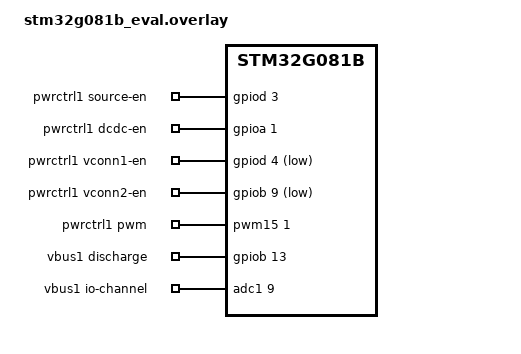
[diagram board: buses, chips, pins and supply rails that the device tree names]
/*
 * Copyright (c) 2022 The Chromium OS Authors.
 * Copyright (c) Qualcomm Technologies, Inc. and/or its subsidiaries.
 *
 * SPDX-License-Identifier: Apache-2.0
 *
 */

#include <dt-bindings/usb-c/pd.h>

/ {
	aliases {
		usbc-port0 = &port1;
		usbc-port0-pwrctrl = &pwrctrl1;
	};

	pwrctrl1: pwrctrl {
		compatible = "zephyr,usb-c-pwrctrl";

		/* Pin D3 is used to enable VBUS Source */
		source-en-gpios = <&gpiod 3 GPIO_ACTIVE_HIGH>;

		/* Pin A1 is used for DCDC_EN */
		dcdc-en-gpios = <&gpioa 1 GPIO_ACTIVE_HIGH>;

		/* Pin D4 enables VCONN on CC1 */
		vconn1-en-gpios = <&gpiod 4 GPIO_ACTIVE_LOW>;

		/* Pin B9 enables VCONN on CC2 */
		vconn2-en-gpios = <&gpiob 9 GPIO_ACTIVE_LOW>;

		/* PWM for voltage selection */
		pwms = <&pwm15 1 PWM_USEC(50) PWM_POLARITY_INVERTED>;
	};

	/* usbc.rst vbus-voltage-divider-adc start */
	vbus1: vbus {
		compatible = "zephyr,usb-c-vbus-adc";
		io-channels = <&adc1 9>;
		output-ohms = <49900>;
		full-ohms = <(330000 + 49900)>;

		/* Pin B13 is used to control VBUS Discharge for Port1 */
		discharge-gpios = <&gpiob 13 GPIO_ACTIVE_HIGH>;
	};
	/* usbc.rst vbus-voltage-divider-adc end */

	ports {
		#address-cells = <1>;
		#size-cells = <0>;

		/* usbc.rst usbc-port start */
		port1: usbc-port@1 {
			compatible = "usb-c-connector";
			reg = <1>;
			tcpc = <&ucpd1>;
			vbus = <&vbus1>;
			power-role = "dual";
			typec-power-opmode = "3.0A";
			source-pdos = <PDO_FIXED(5000, 100, 0) PDO_FIXED(9000, 100, 0)
				       PDO_FIXED(15000, 100, 0)>;
			sink-pdos = <PDO_FIXED(5000, 100, 0)>;
		};
		/* usbc.rst usbc-port end */
	};
};

&ucpd1 {
	dead-battery;
};
